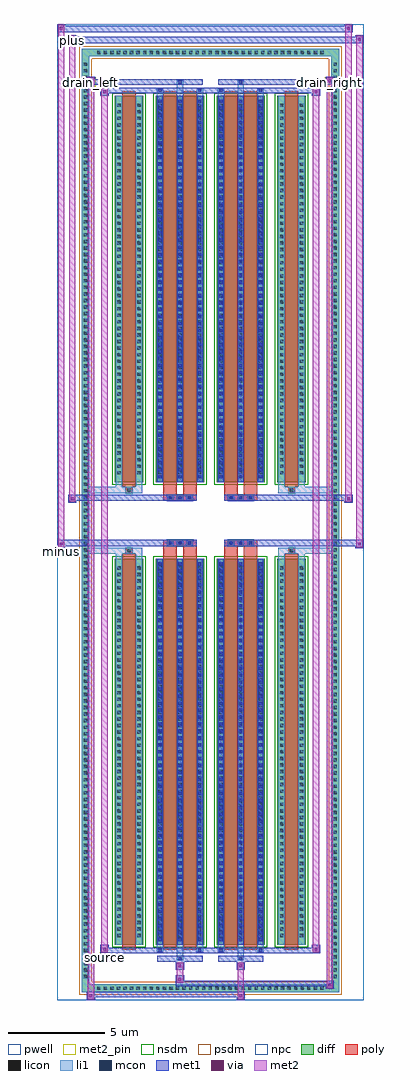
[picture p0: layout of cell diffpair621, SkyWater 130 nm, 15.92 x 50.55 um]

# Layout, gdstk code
import gdstk
lib = gdstk.Library(unit=1e-6, precision=5e-09)
def R(c, l, rs):  # rectangles x0, y0, x1, y1
    for r in rs: c.add(gdstk.rectangle(r[:2], r[2:], *l))
def A(c, l, x, y, w, h, nx, ny, dx, dy):  # array of equal rectangles
    R(c, l, [(x+i*dx, y+j*dy, x+i*dx+w, y+j*dy+h) for i in range(nx) for j in range(ny)])
def P(c, l, *ps):  # polygons
    for p in ps: c.add(gdstk.Polygon(p, *l))
pwell = (64, 44)
diff = (65, 20)
poly = (66, 20)
licon = (66, 44)
li1 = (67, 20)
mcon = (67, 44)
met1 = (68, 20)
via = (68, 44)
met2_pin = (69, 16)
met2 = (69, 20)
nsdm = (93, 44)
psdm = (94, 20)
npc = (95, 20)

diffpair621 = lib.new_cell('diffpair621')
R(diffpair621, pwell, [(-7.94,-24.84,7.94,25.71), (-5.26,-23.03,-0.01,-0.805), (0.01,-23.03,5.26,-0.805), (-5.26,0.805,-0.01,23.03), (0.01,0.805,5.26,23.03)])
A(diffpair621, diff, -5.985, -24.44, 0.41, 0.41, 35, 2, 0.34, 48.47)
A(diffpair621, diff, -6.67, -23.835, 0.41, 0.41, 1, 140, 0, 0.34)
A(diffpair621, diff, 6.26, -23.835, 0.41, 0.41, 1, 140, 0, 0.34)
R(diffpair621, diff, [(-5.985,-24.44,5.985,-24.03), (-6.67,-23.835,-6.26,23.835), (6.26,-23.835,6.67,23.835), (-4.95,-21.985,-3.47,-1.985), (-2.83,-21.985,-0.32,-1.985), (0.32,-21.985,2.83,-1.985), (3.47,-21.985,4.95,-1.985), (-4.95,1.985,-3.47,21.985), (-2.83,1.985,-0.32,21.985), (0.32,1.985,2.83,21.985), (3.47,1.985,4.95,21.985), (-5.985,24.03,5.985,24.44)])
P(diffpair621, diff, [(6.67,24.44),(-6.67,24.44),(-6.67,-24.03),(-6.26,-24.03),(-6.26,24.03),(6.26,24.03),(6.26,-24.03),(-6.26,-24.03),(-6.67,-24.03),(-6.67,-24.44),(6.67,-24.44)])
A(diffpair621, poly, -2.24, -1.335, 0.33, 0.33, 3, 2, 0.5, 2.34)
A(diffpair621, poly, 0.91, -1.335, 0.33, 0.33, 3, 2, 0.5, 2.34)
R(diffpair621, poly, [(-4.56,-22.235,-3.86,-1.735), (-2.44,-22.235,-1.74,-1.735), (-1.41,-22.235,-0.71,-1.735), (0.71,-22.235,1.41,-1.735), (1.74,-22.235,2.44,-1.735), (3.86,-22.235,4.56,-1.735), (-4.375,-1.735,-4.045,-1.405), (-4.375,-1.735,-4.045,-1.405), (-2.44,-1.735,-1.74,-1.335), (-1.41,-1.735,-0.71,-1.335), (0.71,-1.735,1.41,-1.335), (1.74,-1.735,2.44,-1.335), (4.045,-1.735,4.375,-1.405), (4.045,-1.735,4.375,-1.405), (-2.44,-1.335,-0.71,-1.005), (0.71,-1.335,2.44,-1.005), (-2.44,1.005,-0.71,1.335), (0.71,1.005,2.44,1.335), (-2.44,1.335,-1.74,1.735), (-1.41,1.335,-0.71,1.735), (0.71,1.335,1.41,1.735), (1.74,1.335,2.44,1.735), (-4.375,1.405,-4.045,1.735), (-4.375,1.405,-4.045,1.735), (4.045,1.405,4.375,1.735), (4.045,1.405,4.375,1.735), (-4.56,1.735,-3.86,22.235), (-2.44,1.735,-1.74,22.235), (-1.41,1.735,-0.71,22.235), (0.71,1.735,1.41,22.235), (1.74,1.735,2.44,22.235), (3.86,1.735,4.56,22.235)])
A(diffpair621, licon, -5.865, -24.32, 0.17, 0.17, 35, 2, 0.34, 48.47)
A(diffpair621, licon, -6.55, -23.715, 0.17, 0.17, 1, 140, 0, 0.34)
A(diffpair621, licon, 6.38, -23.715, 0.17, 0.17, 1, 140, 0, 0.34)
A(diffpair621, licon, -4.81, -21.59, 0.17, 0.17, 1, 57, 0, 0.34)
A(diffpair621, licon, -3.78, -21.59, 0.17, 0.17, 1, 57, 0, 0.34)
A(diffpair621, licon, -2.69, -21.59, 0.17, 0.17, 3, 57, 1.03, 0.34)
A(diffpair621, licon, 0.46, -21.59, 0.17, 0.17, 3, 57, 1.03, 0.34)
A(diffpair621, licon, 3.61, -21.59, 0.17, 0.17, 1, 57, 0, 0.34)
A(diffpair621, licon, 4.64, -21.59, 0.17, 0.17, 1, 57, 0, 0.34)
A(diffpair621, licon, -2.16, -1.255, 0.17, 0.17, 3, 2, 0.5, 2.34)
A(diffpair621, licon, 0.99, -1.255, 0.17, 0.17, 3, 2, 0.5, 2.34)
A(diffpair621, licon, -4.81, 2.38, 0.17, 0.17, 1, 57, 0, 0.34)
A(diffpair621, licon, -3.78, 2.38, 0.17, 0.17, 1, 57, 0, 0.34)
A(diffpair621, licon, -2.69, 2.38, 0.17, 0.17, 3, 57, 1.03, 0.34)
A(diffpair621, licon, 0.46, 2.38, 0.17, 0.17, 3, 57, 1.03, 0.34)
A(diffpair621, licon, 3.61, 2.38, 0.17, 0.17, 1, 57, 0, 0.34)
A(diffpair621, licon, 4.64, 2.38, 0.17, 0.17, 1, 57, 0, 0.34)
R(diffpair621, licon, [(-4.295,-1.655,-4.125,-1.485), (4.125,-1.655,4.295,-1.485), (-4.295,1.485,-4.125,1.655), (4.125,1.485,4.295,1.655)])
A(diffpair621, li1, -5.945, -24.4, 0.33, 0.33, 35, 2, 0.34, 48.47)
A(diffpair621, li1, -6.63, -23.795, 0.33, 0.33, 1, 140, 0, 0.34)
A(diffpair621, li1, 6.3, -23.795, 0.33, 0.33, 1, 140, 0, 0.34)
A(diffpair621, li1, -2.77, -21.985, 0.33, 20, 3, 2, 1.03, 23.97)
A(diffpair621, li1, 0.38, -21.985, 0.33, 20, 3, 2, 1.03, 23.97)
A(diffpair621, li1, -2.69, -21.79, 0.17, 0.17, 3, 55, 1.03, 0.36)
A(diffpair621, li1, -2.69, -21.79, 0.17, 19.61, 3, 2, 1.03, 23.97)
A(diffpair621, li1, 0.46, -21.79, 0.17, 0.17, 3, 55, 1.03, 0.36)
A(diffpair621, li1, 0.46, -21.79, 0.17, 19.61, 3, 2, 1.03, 23.97)
A(diffpair621, li1, -4.89, -21.67, 0.33, 0.33, 1, 57, 0, 0.34)
A(diffpair621, li1, -3.86, -21.67, 0.33, 0.33, 1, 57, 0, 0.34)
A(diffpair621, li1, -2.77, -21.67, 0.33, 0.33, 3, 57, 1.03, 0.34)
A(diffpair621, li1, 0.38, -21.67, 0.33, 0.33, 3, 57, 1.03, 0.34)
A(diffpair621, li1, 3.53, -21.67, 0.33, 0.33, 1, 57, 0, 0.34)
A(diffpair621, li1, 4.56, -21.67, 0.33, 0.33, 1, 57, 0, 0.34)
A(diffpair621, li1, -2.24, -1.335, 0.33, 0.33, 3, 2, 0.5, 2.34)
A(diffpair621, li1, 0.91, -1.335, 0.33, 0.33, 3, 2, 0.5, 2.34)
A(diffpair621, li1, -2.69, 2.18, 0.17, 0.17, 3, 55, 1.03, 0.36)
A(diffpair621, li1, 0.46, 2.18, 0.17, 0.17, 3, 55, 1.03, 0.36)
A(diffpair621, li1, -4.89, 2.3, 0.33, 0.33, 1, 57, 0, 0.34)
A(diffpair621, li1, -3.86, 2.3, 0.33, 0.33, 1, 57, 0, 0.34)
A(diffpair621, li1, -2.77, 2.3, 0.33, 0.33, 3, 57, 1.03, 0.34)
A(diffpair621, li1, 0.38, 2.3, 0.33, 0.33, 3, 57, 1.03, 0.34)
A(diffpair621, li1, 3.53, 2.3, 0.33, 0.33, 1, 57, 0, 0.34)
A(diffpair621, li1, 4.56, 2.3, 0.33, 0.33, 1, 57, 0, 0.34)
R(diffpair621, li1, [(-6.67,-24.44,-6.26,-24.03), (-6.67,-24.44,-6.26,-24.03), (-6.26,-24.44,6.26,-24.03), (6.26,-24.44,6.67,-24.03), (6.26,-24.44,6.67,-24.03), (-6.67,-24.03,-6.26,24.03), (6.26,-24.03,6.67,24.03), (-1.74,-22.79,-1.41,-21.985), (-1.66,-22.79,-1.49,-22.62), (1.41,-22.79,1.74,-21.985), (1.49,-22.79,1.66,-22.62), (-2.77,-22.36,-2.44,-21.985), (-2.69,-22.36,-2.52,-22.19), (-0.71,-22.36,-0.38,-21.985), (-0.63,-22.36,-0.46,-22.19), (0.38,-22.36,0.71,-21.985), (0.46,-22.36,0.63,-22.19), (2.44,-22.36,2.77,-21.985), (2.52,-22.36,2.69,-22.19), (-4.89,-21.985,-4.56,-1.985), (-3.86,-21.985,-3.53,-1.985), (3.53,-21.985,3.86,-1.985), (4.56,-21.985,4.89,-1.985), (-4.89,-1.985,-4.56,-1.405), (-3.86,-1.985,-3.53,-1.405), (3.53,-1.985,3.86,-1.405), (4.56,-1.985,4.89,-1.405), (-6.67,-1.735,-4.375,-1.405), (-4.89,-1.735,-4.375,-1.405), (-4.375,-1.735,-4.045,-1.405), (-4.045,-1.735,-3.53,-1.405), (3.53,-1.735,4.045,-1.405), (4.045,-1.735,4.375,-1.405), (4.045,-1.735,6.67,-1.405), (4.375,-1.735,4.89,-1.405), (-6.67,1.405,-4.375,1.735), (-4.89,1.405,-4.375,1.735), (-4.89,1.405,-4.56,1.985), (-4.375,1.405,-4.045,1.735), (-4.045,1.405,-3.53,1.735), (-3.86,1.405,-3.53,1.985), (3.53,1.405,4.045,1.735), (3.53,1.405,3.86,1.985), (4.045,1.405,4.375,1.735), (4.045,1.405,6.67,1.735), (4.375,1.405,4.89,1.735), (4.56,1.405,4.89,1.985), (-4.89,1.985,-4.56,21.985), (-3.86,1.985,-3.53,21.985), (3.53,1.985,3.86,21.985), (4.56,1.985,4.89,21.985), (-2.77,21.985,-2.44,22.36), (-1.74,21.985,-1.41,22.79), (-0.71,21.985,-0.38,22.36), (0.38,21.985,0.71,22.36), (1.41,21.985,1.74,22.79), (2.44,21.985,2.77,22.36), (-2.69,22.19,-2.52,22.36), (-0.63,22.19,-0.46,22.36), (0.46,22.19,0.63,22.36), (2.52,22.19,2.69,22.36), (-1.66,22.62,-1.49,22.79), (1.49,22.62,1.66,22.79), (-6.67,24.03,-6.26,24.44), (-6.67,24.03,-6.26,24.44), (-6.26,24.03,6.26,24.44), (6.26,24.03,6.67,24.44), (6.26,24.03,6.67,24.44)])
A(diffpair621, mcon, -2.69, -21.79, 0.17, 0.17, 3, 55, 1.03, 0.36)
A(diffpair621, mcon, 0.46, -21.79, 0.17, 0.17, 3, 55, 1.03, 0.36)
A(diffpair621, mcon, -2.16, -1.255, 0.17, 0.17, 3, 2, 0.5, 2.34)
A(diffpair621, mcon, 0.99, -1.255, 0.17, 0.17, 3, 2, 0.5, 2.34)
A(diffpair621, mcon, -2.69, 2.18, 0.17, 0.17, 3, 55, 1.03, 0.36)
A(diffpair621, mcon, 0.46, 2.18, 0.17, 0.17, 3, 55, 1.03, 0.36)
R(diffpair621, mcon, [(-1.66,-22.79,-1.49,-22.62), (1.49,-22.79,1.66,-22.62), (-2.69,-22.36,-2.52,-22.19), (-0.63,-22.36,-0.46,-22.19), (0.46,-22.36,0.63,-22.19), (2.52,-22.36,2.69,-22.19), (-2.69,22.19,-2.52,22.36), (-0.63,22.19,-0.46,22.36), (0.46,22.19,0.63,22.36), (2.52,22.19,2.69,22.36), (-1.66,22.62,-1.49,22.79), (1.49,22.62,1.66,22.79)])
A(diffpair621, met1, -2.75, -21.985, 0.29, 20, 3, 2, 1.03, 23.97)
A(diffpair621, met1, 0.4, -21.985, 0.29, 20, 3, 2, 1.03, 23.97)
A(diffpair621, met1, -2.75, -21.85, 0.29, 0.29, 3, 55, 1.03, 0.36)
A(diffpair621, met1, 0.4, -21.85, 0.29, 0.29, 3, 55, 1.03, 0.36)
A(diffpair621, met1, -2.22, -1.315, 0.29, 0.29, 3, 2, 0.5, 2.34)
A(diffpair621, met1, 0.93, -1.315, 0.29, 0.29, 3, 2, 0.5, 2.34)
A(diffpair621, met1, -2.75, 2.12, 0.29, 0.29, 3, 55, 1.03, 0.36)
A(diffpair621, met1, 0.4, 2.12, 0.29, 0.29, 3, 55, 1.03, 0.36)
R(diffpair621, met1, [(-6.4,-24.84,-5.97,-24.41), (1.36,-24.84,1.79,-24.41), (-6.4,-24.7,1.79,-24.41), (5.97,-24.27,6.4,-23.84), (-1.79,-24.13,6.4,-23.84), (-1.79,-23.99,-1.36,-23.56), (-1.79,-23.28,-1.36,-22.85), (1.36,-23.28,1.79,-22.85), (-2.75,-22.85,-0.4,-22.56), (-1.72,-22.85,-1.43,-22.56), (0.4,-22.85,2.75,-22.56), (1.43,-22.85,1.72,-22.56), (-5.69,-22.42,-5.26,-21.99), (-5.69,-22.42,-2.75,-22.13), (-2.75,-22.42,-2.46,-22.13), (-2.75,-22.42,-0.4,-22.13), (-0.69,-22.42,-0.4,-22.13), (-0.4,-22.42,0.4,-22.13), (0.4,-22.42,0.69,-22.13), (0.4,-22.42,2.75,-22.13), (2.46,-22.42,2.75,-22.13), (2.75,-22.42,5.69,-22.13), (5.26,-22.42,5.69,-21.99), (-7.94,-1.435,-7.51,-1.005), (7.51,-1.435,7.94,-1.005), (-7.94,-1.335,-0.71,-1.005), (-2.44,-1.335,-0.71,-1.005), (0.71,-1.335,2.44,-1.005), (0.71,-1.335,7.94,-1.005), (-7.37,0.905,-6.94,1.335), (6.94,0.905,7.37,1.335), (-7.37,1.005,-2.44,1.335), (-2.44,1.005,-0.71,1.335), (0.71,1.005,2.44,1.335), (2.44,1.005,7.37,1.335), (-5.69,21.99,-5.26,22.42), (5.26,21.99,5.69,22.42), (-5.69,22.13,-2.75,22.42), (-2.75,22.13,-2.46,22.42), (-2.75,22.13,-0.4,22.42), (-0.69,22.13,-0.4,22.42), (-0.4,22.13,0.4,22.42), (0.4,22.13,0.69,22.42), (0.4,22.13,2.75,22.42), (2.46,22.13,2.75,22.42), (2.75,22.13,5.69,22.42), (-6.4,22.56,-5.97,22.99), (-6.4,22.56,-2.75,22.85), (-2.75,22.56,-0.4,22.85), (-1.72,22.56,-1.43,22.85), (0.4,22.56,2.75,22.85), (1.43,22.56,1.72,22.85), (2.75,22.56,6.4,22.85), (5.97,22.56,6.4,22.99), (-7.37,24.71,-6.94,25.14), (-7.37,24.71,-5.26,25.04), (-5.26,24.71,5.26,25.04), (5.26,24.71,7.94,25.04), (7.51,24.71,7.94,25.14), (-7.94,25.28,-7.51,25.71), (-7.94,25.28,-5.26,25.61), (-5.26,25.28,5.26,25.61), (5.26,25.28,7.37,25.61), (6.94,25.28,7.37,25.71)])
R(diffpair621, via, [(-6.26,-24.7,-6.11,-24.55), (1.5,-24.7,1.65,-24.55), (6.11,-24.13,6.26,-23.98), (-1.65,-23.85,-1.5,-23.7), (-1.65,-23.14,-1.5,-22.99), (1.5,-23.14,1.65,-22.99), (-5.55,-22.28,-5.4,-22.13), (5.4,-22.28,5.55,-22.13), (-7.8,-1.295,-7.65,-1.145), (7.65,-1.295,7.8,-1.145), (-7.23,1.045,-7.08,1.195), (7.08,1.045,7.23,1.195), (-5.55,22.13,-5.4,22.28), (5.4,22.13,5.55,22.28), (-6.26,22.7,-6.11,22.85), (6.11,22.7,6.26,22.85), (-7.23,24.85,-7.08,25), (7.65,24.85,7.8,25), (-7.8,25.42,-7.65,25.57), (7.08,25.42,7.23,25.57)])
R(diffpair621, met2_pin, [(-5.725,-22.87,-5.225,-22.37), (-7.975,-1.885,-7.475,-1.385), (-6.435,22.44,-5.935,22.94), (5.935,22.44,6.435,22.94), (-7.405,24.59,-6.905,25.09)])
R(diffpair621, met2, [(-6.35,-24.79,-6.02,-24.46), (-6.35,-24.79,-6.02,22.94), (1.41,-24.79,1.74,-24.46), (1.41,-24.46,1.74,-23.23), (6.02,-24.22,6.35,-23.89), (6.02,-24.22,6.35,22.94), (-1.74,-23.94,-1.41,-23.61), (-1.74,-23.61,-1.41,-23.23), (-1.74,-23.23,-1.41,-22.9), (1.41,-23.23,1.74,-22.9), (-5.64,-22.37,-5.31,-22.04), (-5.64,-22.37,-5.31,22.37), (5.31,-22.37,5.64,-22.04), (5.31,-22.37,5.64,22.37), (-7.89,-1.385,-7.56,-1.055), (-7.89,-1.385,-7.56,25.66), (7.56,-1.385,7.89,-1.055), (7.56,-1.385,7.89,25.09), (-7.32,0.955,-6.99,1.285), (-7.32,0.955,-6.99,25.09), (6.99,0.955,7.32,1.285), (6.99,0.955,7.32,25.66), (-5.64,22.04,-5.31,22.37), (5.31,22.04,5.64,22.37), (-6.35,22.61,-6.02,22.94), (6.02,22.61,6.35,22.94), (-7.32,24.76,-6.99,25.09), (7.56,24.76,7.89,25.09), (-7.89,25.33,-7.56,25.66), (6.99,25.33,7.32,25.66)])
P(diffpair621, met2, [(7.89,-1.385),(7.89,-1.385),(7.89,-1.055),(7.89,-1.055)],
  [(7.89,24.76),(7.89,24.76),(7.89,25.09),(7.89,25.09)],
  [(-7.56,-1.385),(-7.56,-1.385),(-7.56,-1.055),(-7.56,-1.055)],
  [(-7.56,25.33),(-7.56,25.33),(-7.56,25.66),(-7.56,25.66)],
  [(7.32,0.955),(7.32,0.955),(7.32,1.285),(7.32,1.285)],
  [(7.32,25.33),(7.32,25.33),(7.32,25.66),(7.32,25.66)],
  [(-6.99,0.955),(-6.99,0.955),(-6.99,1.285),(-6.99,1.285)],
  [(-6.99,24.76),(-6.99,24.76),(-6.99,25.09),(-6.99,25.09)],
  [(-6.02,-24.79),(-6.02,-24.79),(-6.02,-24.46),(-6.02,-24.46)],
  [(-6.02,22.61),(-6.02,22.61),(-6.02,22.94),(-6.02,22.94)],
  [(6.35,-24.22),(6.35,-24.22),(6.35,-23.89),(6.35,-23.89)],
  [(6.35,22.61),(6.35,22.61),(6.35,22.94),(6.35,22.94)],
  [(-5.31,-22.37),(-5.31,-22.37),(-5.31,-22.04),(-5.31,-22.04)],
  [(-5.31,22.04),(-5.31,22.04),(-5.31,22.37),(-5.31,22.37)],
  [(5.64,-22.37),(5.64,-22.37),(5.64,-22.04),(5.64,-22.04)],
  [(5.64,22.04),(5.64,22.04),(5.64,22.37),(5.64,22.37)])
R(diffpair621, nsdm, [(-5.08,-22.115,-3.34,-1.855), (-2.96,-22.115,-0.19,-1.855), (0.19,-22.115,2.96,-1.855), (3.34,-22.115,5.08,-1.855), (-5.08,1.855,-3.34,22.115), (-2.96,1.855,-0.19,22.115), (0.19,1.855,2.96,22.115), (3.34,1.855,5.08,22.115)])
P(diffpair621, psdm, [(6.8,24.57),(-6.8,24.57),(-6.8,-23.9),(-6.13,-23.9),(-6.13,23.9),(6.13,23.9),(6.13,-23.9),(-6.13,-23.9),(-6.8,-23.9),(-6.8,-24.57),(6.8,-24.57)])
A(diffpair621, npc, -2.26, -1.355, 0.37, 0.37, 3, 2, 0.5, 2.34)
A(diffpair621, npc, 0.89, -1.355, 0.37, 0.37, 3, 2, 0.5, 2.34)
R(diffpair621, npc, [(-4.395,-1.755,-4.025,-1.385), (4.025,-1.755,4.395,-1.385), (-2.26,-1.355,-1.39,-0.985), (-2.26,-1.355,-1.39,-0.985), (-1.76,-1.355,-0.89,-0.985), (-1.76,-1.355,-0.89,-0.985), (0.89,-1.355,1.76,-0.985), (0.89,-1.355,1.76,-0.985), (1.39,-1.355,2.26,-0.985), (1.39,-1.355,2.26,-0.985), (-2.26,0.985,-1.39,1.355), (-2.26,0.985,-1.39,1.355), (-1.76,0.985,-0.89,1.355), (-1.76,0.985,-0.89,1.355), (0.89,0.985,1.76,1.355), (0.89,0.985,1.76,1.355), (1.39,0.985,2.26,1.355), (1.39,0.985,2.26,1.355), (-4.395,1.385,-4.025,1.755), (4.025,1.385,4.395,1.755)])
diffpair621.add(gdstk.Label('minus', (-7.725,-1.635), layer=69, texttype=5))
diffpair621.add(gdstk.Label('drain_right', (6.185,22.69), layer=69, texttype=5))
diffpair621.add(gdstk.Label('drain_left', (-6.185,22.69), layer=69, texttype=5))
diffpair621.add(gdstk.Label('source', (-5.475,-22.62), layer=69, texttype=5))
diffpair621.add(gdstk.Label('plus', (-7.155,24.84), layer=69, texttype=5))

lib.write_gds('diffpair621.gds')
